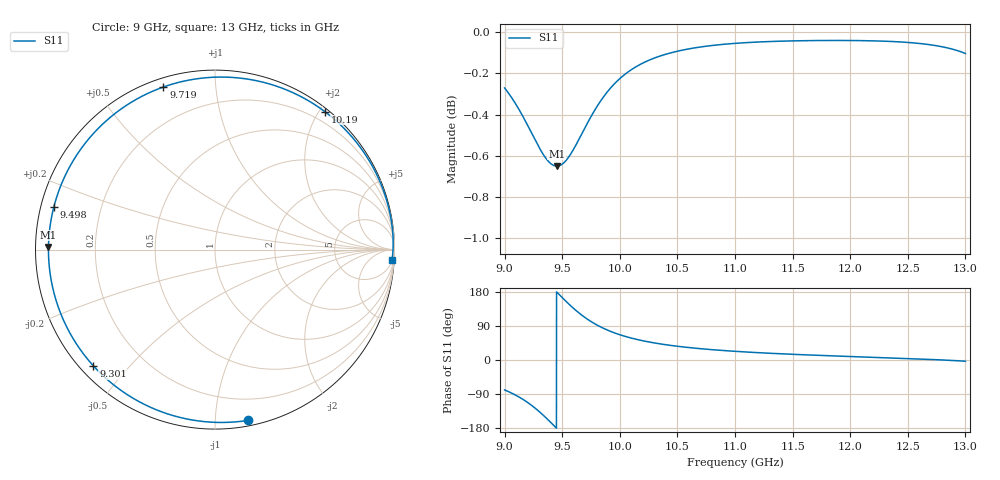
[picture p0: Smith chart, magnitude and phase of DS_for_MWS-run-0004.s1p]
! TOUCHSTONE file generated by CST DESIGN STUDIO
! Date and time: Tue Feb  4 15:41:39 2025
! Project name: C:\Work\MatlabApps\UnitCellOptimizationMatlab\CST\unitcell.cst
! Tree item: Tasks\Sweep1\SPara1\S-Parameters
! Header version: 2024
! Port assignment regex: !\s*Touchstone port\s*([0-9]+)\s*=\s*(CST MWS port|CST DES external port|CST DES block port)\s*(.+)\s* \(\"(.*)\"\)(\s*mode\s*([0-9]+))?.*
! Touchstone port assignment:
! Touchstone port 1 = CST DES external port 1 ("")
# GHz S MA R 50
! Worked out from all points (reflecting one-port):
!   4001 points, 9 GHz to 13 GHz, reference 50 ohm
!   lowest |S11| = -0.7 dB at 9.453 GHz (marker M1), VSWR 26.72, Z = 1.87 + j0.378 ohm
!   phase of S11 starts at -79 deg and turns -284 deg over the sweep
!   S11 on the Smith chart (normalised r, x): 9 GHz: 0.04, -1.21; 9.301 GHz: 0.04, -0.40; 9.498 GHz: 0.04, +0.13; 9.719 GHz: 0.04, +0.73; 10.19 GHz: 0.05, +2.07; 13 GHz: 7, -34
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9  0.9693 -79.0
9.074  0.9629 -89.3
9.17  0.9527 -106.0
9.238  0.9447 -120.6
9.301  0.9374 -136.2
9.383  0.9301 -159.5
9.419  0.9284 -170.4
9.453  0.9279 179.1
9.498  0.9288 165.3
9.5  0.9289 164.7
9.551  0.9321 149.5
9.611  0.938 132.9
9.664  0.944 119.7
9.719  0.9505 107.6
9.783  0.9574 95.5
9.858  0.9645 83.7
9.927  0.9698 74.6
10  0.9744 66.7
10.09  0.9789 58.6
10.189  0.9826 51.5
10.331  0.9864 43.4
10.5  0.9895 36.2
10.722  0.992 29.3
11  0.9938 22.9
11.5  0.9952 15.0
12  0.9954 9.2
12.5  0.9944 3.9
13  0.9882 -3.3
